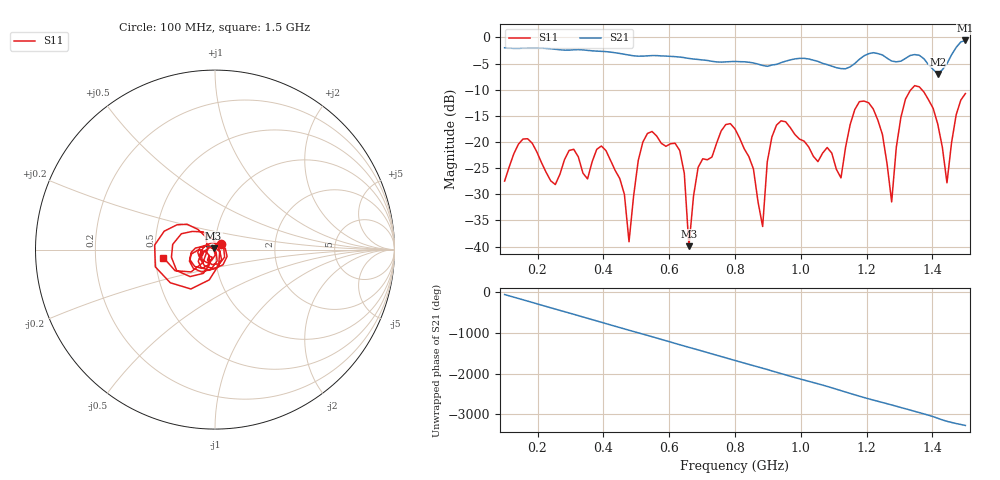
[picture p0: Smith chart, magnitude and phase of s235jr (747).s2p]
! NanoVNA-App
! Date: 2025-09-25 15:09:59
! Start: 100MHz Stop: 1,5GHz Points: 101
! S-Parameter data: F S11 S21 S12 S22
# Hz S RI R 50
!  Frequency  S11_Real  S11_Imag  S21_Real  S21_Imag  S12_Real  S12_Imag  S22_Real  S22_Imag
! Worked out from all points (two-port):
!   101 points, 100 MHz to 1.5 GHz, reference 50 ohm
!   highest |S21| = -0.57 dB at 1.5 GHz (marker M1); lowest = -7.0 dB at 1.416 GHz (marker M2)
!   |S21| within 3 dB of the highest: start of sweep to 504.8 MHz; 520.4 MHz to 593.2 MHz (72.76 MHz wide, 13.1 % of centre) (the widest 2 of 5)
!   lowest |S11| = -39.9 dB at 660 MHz (marker M3), VSWR 1.02, Z = 49.2 + j0.632 ohm
!   |S11| at or under -10 dB: start of sweep to 1.334 GHz; 1.368 GHz to end of sweep
!   S12 and S22 are empty: the file has one direction only
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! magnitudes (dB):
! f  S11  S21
! 100 MHz  -27.5  -2.0
! 156 MHz  -19.4  -2.0
! 338 MHz  -25.9  -2.4
! 408 MHz  -21.7  -2.7
! 478 MHz  -39.1  -3.4
! 520 MHz  -20.0  -3.6
! 576 MHz  -20.2  -3.5
! 632 MHz  -21.6  -3.7
! 660 MHz  -39.9  -4.0
! 688 MHz  -24.8  -4.2
! 800 MHz  -17.5  -4.6
! 884 MHz  -36.2  -5.4
! 926 MHz  -16.8  -5.1
! 1.038 GHz  -22.7  -4.3
! 1.122 GHz  -26.9  -5.9
! 1.164 GHz  -13.8  -5.0
! 1.206 GHz  -12.5  -3.1
! 1.276 GHz  -31.5  -4.5
! 1.332 GHz  -10.2  -3.4
! 1.416 GHz  -16.6  -7.0
! 1.444 GHz  -27.8  -5.0
! 1.5 GHz  -10.7  -0.6
